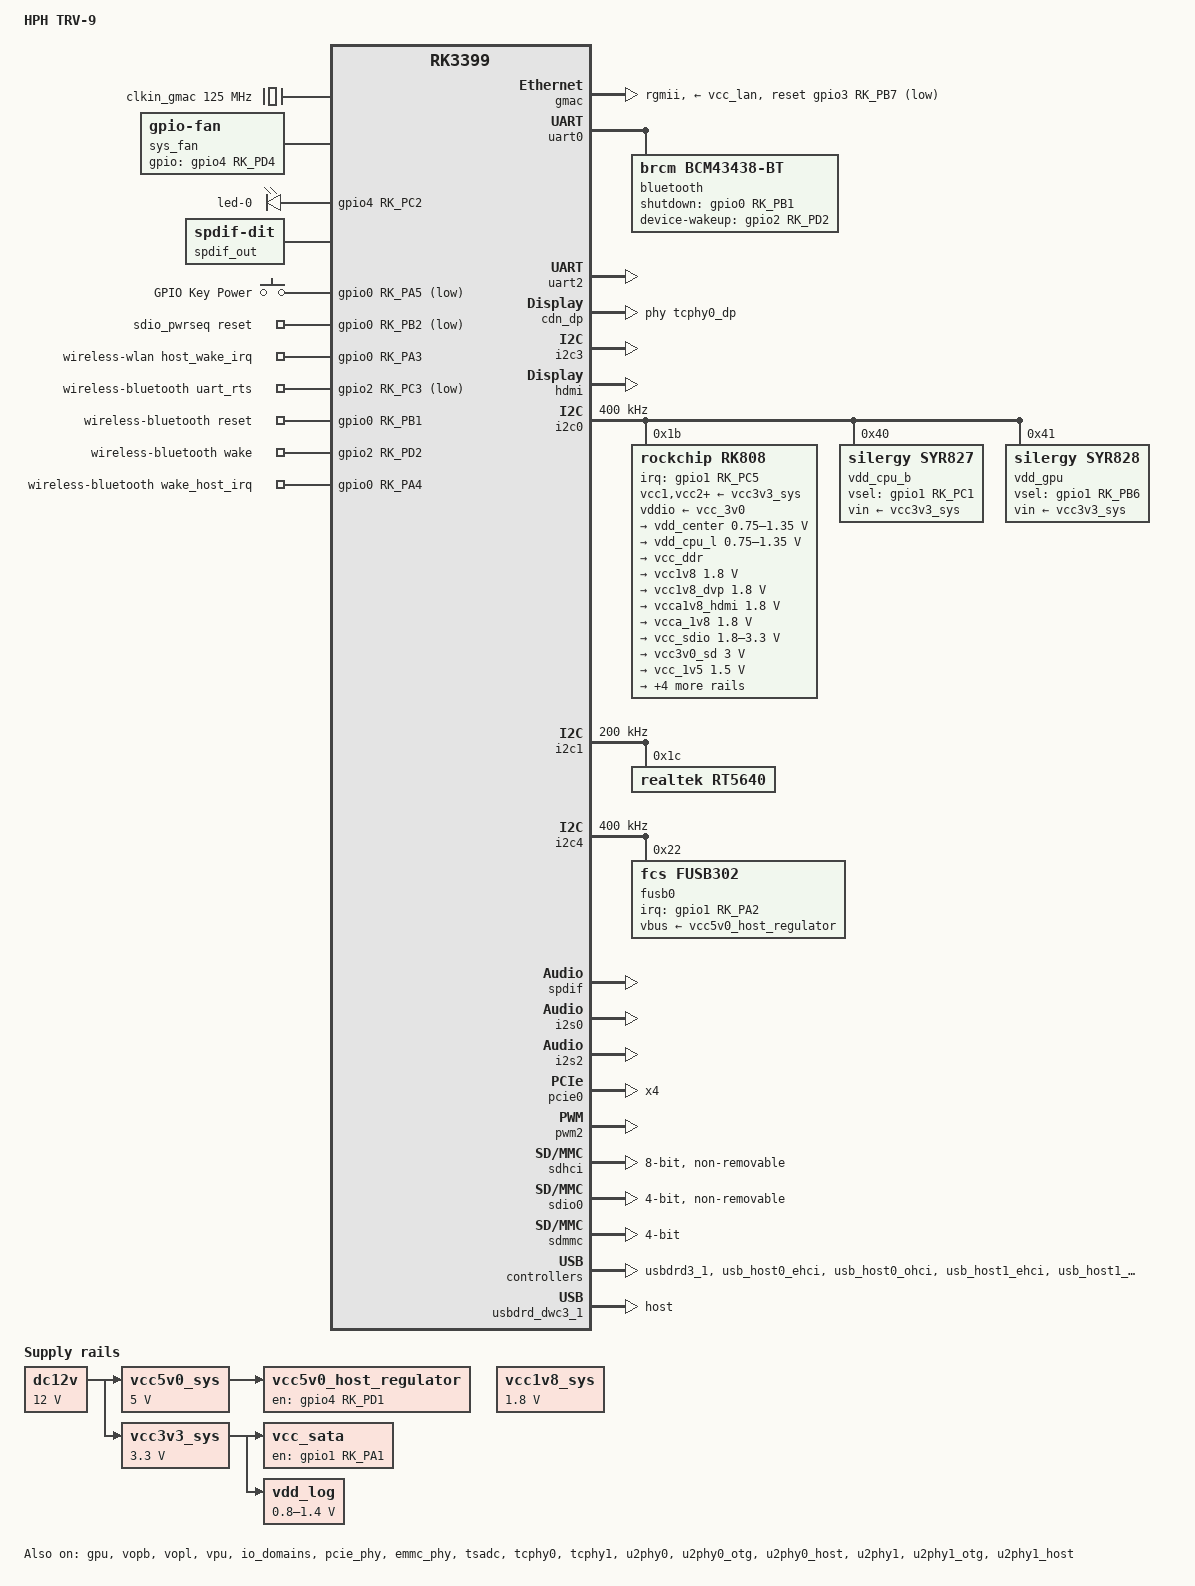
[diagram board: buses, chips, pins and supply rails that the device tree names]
// SPDX-License-Identifier: (GPL-2.0+ OR MIT)
/*
 * Copyright (C) 2025 kaixinos <kaixinos@outlook.com>
 */

/dts-v1/;
#include <dt-bindings/input/linux-event-codes.h>
#include <dt-bindings/leds/common.h>
#include <dt-bindings/pwm/pwm.h>
#include "rk3399.dtsi"
#include "rk3399-opp.dtsi"

/ {
	model = "HPH TRV-9";
	compatible = "hph,TRV-9", "rockchip,rk3399";

	chosen {
		stdout-path = "serial2:1500000n8";
	};

	dc12v: dc12v {
		compatible = "regulator-fixed";
		regulator-name = "dc12v";
		regulator-always-on;
		regulator-boot-on;
		regulator-min-microvolt = <12000000>;
		regulator-max-microvolt = <12000000>;
	};

	vcc5v0_sys: vcc5v0-sys {
		compatible = "regulator-fixed";
		regulator-name = "vcc5v0_sys";
		regulator-always-on;
		regulator-boot-on;
		regulator-min-microvolt = <5000000>;
		regulator-max-microvolt = <5000000>;
		vin-supply = <&dc12v>;
	};

	vcc3v3_sys: vcc3v3-sys {
		compatible = "regulator-fixed";
		regulator-name = "vcc3v3_sys";
		regulator-always-on;
		regulator-boot-on;
		regulator-min-microvolt = <3300000>;
		regulator-max-microvolt = <3300000>;
		vin-supply = <&dc12v>;
	};

	clkin_gmac: external-gmac-clock {
		compatible = "fixed-clock";
		clock-frequency = <125000000>;
		clock-output-names = "clkin_gmac";
		#clock-cells = <0>;
	};

	sys_fan: sys-fan {
		compatible = "gpio-fan";
		gpios = <&gpio4 RK_PD4 GPIO_ACTIVE_HIGH>;
		gpio-fan,speed-map = <0 0>,
			<1000 1>;
		#cooling-cells = <2>;
	};

	leds {
		compatible = "gpio-leds";
		pinctrl-names = "default";
		pinctrl-0 = <&led_drv>;
		led-0 {
			gpios = <&gpio4 RK_PC2 GPIO_ACTIVE_HIGH>;
			default-state = "on";
		};
	};

	vcc_sata: vcc-sata {
		compatible = "regulator-fixed";
		enable-active-high;
		gpio = <&gpio1 RK_PA1 GPIO_ACTIVE_HIGH>;
		pinctrl-names = "default";
		pinctrl-0 = <&vcc_sata_drv>;
		regulator-name = "vcc_sata";
		regulator-always-on;
		vin-supply = <&vcc3v3_sys>;
	};

	vcc5v0_host_regulator: vcc5v0-host-regulator {
		compatible = "regulator-fixed";
		enable-active-high;
		gpio = <&gpio4 RK_PD1 GPIO_ACTIVE_HIGH>;
		pinctrl-names = "default";
		pinctrl-0 = <&host_vbus_drv>;
		regulator-name = "vcc5v0_host";
		regulator-always-on;
		vin-supply = <&vcc5v0_sys>;
	};

	vcc1v8_sys: vcc1v8-sys {
		compatible = "regulator-fixed";
		regulator-name = "vcc1v8_s0";
		regulator-min-microvolt = <1800000>;
		regulator-max-microvolt = <1800000>;
		regulator-always-on;
	};

	vdd_log: vdd-log {
		compatible = "pwm-regulator";
		pwms = <&pwm2 0 25000 1>;
		regulator-name = "vdd_log";
		regulator-min-microvolt = <800000>;
		regulator-max-microvolt = <1400000>;
		regulator-always-on;
		regulator-boot-on;
		vin-supply = <&vcc3v3_sys>;
	};

	rt5640_sound: rt5640-sound {
		status = "okay";
		compatible = "simple-audio-card";
		simple-audio-card,name = "realtek,rt5640-codec";
		simple-audio-card,format = "i2s";
		simple-audio-card,mclk-fs = <256>;

		simple-audio-card,widgets =
			"Microphone", "Mic Jack",
			"Headphone", "Headphone Jack";
		simple-audio-card,routing =
			"Mic Jack", "MICBIAS1",
			"IN1P", "Mic Jack",
			"Headphone Jack", "HPOL",
			"Headphone Jack", "HPOR";

		simple-audio-card,cpu {
			sound-dai = <&i2s0>;
		};
		simple-audio-card,codec {
			sound-dai = <&rt5640>;
		};
	};

	hdmi_sound: hdmi-sound {
		status = "okay";
		compatible = "simple-audio-card";
		simple-audio-card,format = "i2s";
		simple-audio-card,mclk-fs = <256>;
		simple-audio-card,name = "HDMI";
		simple-audio-card,cpu {
			sound-dai = <&i2s2>;
		};
		simple-audio-card,codec {
			sound-dai = <&hdmi>;
		};
	};

	spdif-sound {
		status = "okay";
		compatible = "simple-audio-card";
		simple-audio-card,name = "ROCKCHIP,SPDIF";
		simple-audio-card,cpu {
			sound-dai = <&spdif>;
		};
		simple-audio-card,codec {
			sound-dai = <&spdif_out>;
		};
	};

	spdif_out: spdif-out {
		status = "okay";
		compatible = "linux,spdif-dit";
		#sound-dai-cells = <0>;
	};

	gpio-keys {
		compatible = "gpio-keys";
		autorepeat;
		pinctrl-names = "default";
		pinctrl-0 = <&power_key>;

		button {
			gpios = <&gpio0 RK_PA5 GPIO_ACTIVE_LOW>;
			linux,code = <KEY_POWER>;
			label = "GPIO Key Power";
			linux,input-type = <1>;
			wakeup-source;
			debounce-interval = <100>;
		};
	};

	sdio_pwrseq: sdio-pwrseq {
		compatible = "mmc-pwrseq-simple";
		clocks = <&rk808 1>;
		clock-names = "ext_clock";
		pinctrl-names = "default";
		pinctrl-0 = <&wifi_enable_h>;
		reset-gpios = <&gpio0 RK_PB2 GPIO_ACTIVE_LOW>;
	};

	wireless-wlan {
		compatible = "wlan-platdata";
		rockchip,grf = <&grf>;
		wifi_chip_type = "ap6255";
		sdio_vref = <1800>;
		WIFI,host_wake_irq = <&gpio0 RK_PA3 GPIO_ACTIVE_HIGH>;
	};

	wireless-bluetooth {
		compatible = "bluetooth-platdata";
		clocks = <&rk808 1>;
		clock-names = "ext_clock";
		uart_rts_gpios = <&gpio2 RK_PC3 GPIO_ACTIVE_LOW>;
		pinctrl-names = "default", "rts_gpio";
		pinctrl-0 = <&uart0_rts>;
		pinctrl-1 = <&uart0_gpios>;
		BT,reset_gpio    = <&gpio0 RK_PB1 GPIO_ACTIVE_HIGH>;
		BT,wake_gpio     = <&gpio2 RK_PD2 GPIO_ACTIVE_HIGH>;
		BT,wake_host_irq = <&gpio0 RK_PA4 GPIO_ACTIVE_HIGH>;
	};
};

&cpu_l0 {
	cpu-supply = <&vdd_cpu_l>;
};

&cpu_l1 {
	cpu-supply = <&vdd_cpu_l>;
};

&cpu_l2 {
	cpu-supply = <&vdd_cpu_l>;
};

&cpu_l3 {
	cpu-supply = <&vdd_cpu_l>;
};

&cpu_b0 {
	cpu-supply = <&vdd_cpu_b>;
};

&cpu_b1 {
	cpu-supply = <&vdd_cpu_b>;
};

&gpu {
	status = "okay";
	mali-supply = <&vdd_gpu>;
};

&gmac {
	assigned-clocks = <&cru SCLK_RMII_SRC>;
	assigned-clock-parents = <&clkin_gmac>;
	clock_in_out = "input";
	pinctrl-names = "default", "sleep";
	pinctrl-0 = <&rgmii_pins>;
	pinctrl-1 = <&rgmii_sleep_pins>;
	phy-mode = "rgmii";
	phy-supply = <&vcc_lan>;
	snps,reset-active-low;
	snps,reset-delays-us = <0 10000 50000>;
	snps,reset-gpio = <&gpio3 RK_PB7 GPIO_ACTIVE_LOW>;
	tx_delay = <0x28>;
	rx_delay = <0x11>;
	status = "okay";
};

&uart0 {
	pinctrl-names = "default";
	pinctrl-0 = <&uart0_xfer &uart0_cts &uart0_rts>;
	status = "okay";

	bluetooth {
		compatible = "brcm,bcm43438-bt";
		shutdown-gpios = <&gpio0 RK_PB1 GPIO_ACTIVE_HIGH>;
		device-wakeup-gpios = <&gpio2 RK_PD2 GPIO_ACTIVE_HIGH>;
		pinctrl-names = "default";
		pinctrl-0 = <&bt_reg_on_h &bt_wake_l>;
		clocks = <&rk808 1>;
		clock-names = "lpo";
		max-speed = <1500000>;
	};
};

&uart2 {
	status = "okay";
};

&vopb {
	status = "okay";
};

&vopb_mmu {
	status = "okay";
};

&vopl {
	status = "okay";
};

&vopl_mmu {
	status = "okay";
};

&vpu {
	status = "okay";
};

&rga {
	status = "disabled";
};

&cdn_dp {
	status = "okay";
	phys = <&tcphy0_dp>;
};

&i2c3 {
	status = "okay";
};

&hdmi {
	ddc-i2c-bus = <&i2c3>;
	pinctrl-names = "default";
	pinctrl-0 = <&hdmi_cec>;
	#sound-dai-cells = <0>;
	status = "okay";
};

&i2c0 {
	clock-frequency = <400000>;
	i2c-scl-rising-time-ns = <160>;
	i2c-scl-falling-time-ns = <30>;
	status = "okay";

	rk808: pmic@1b {
		compatible = "rockchip,rk808";
		reg = <0x1b>;
		interrupt-parent = <&gpio1>;
		interrupts = <RK_PC5 IRQ_TYPE_LEVEL_LOW>;
		#clock-cells = <1>;
		clock-output-names = "xin32k", "rk808-clkout2";
		pinctrl-names = "default";
		pinctrl-0 = <&pmic_int_l>;
		rockchip,system-power-controller;
		wakeup-source;

		vcc1-supply = <&vcc3v3_sys>;
		vcc2-supply = <&vcc3v3_sys>;
		vcc3-supply = <&vcc3v3_sys>;
		vcc4-supply = <&vcc3v3_sys>;
		vcc6-supply = <&vcc3v3_sys>;
		vcc7-supply = <&vcc3v3_sys>;
		vcc8-supply = <&vcc3v3_sys>;
		vcc9-supply = <&vcc3v3_sys>;
		vcc10-supply = <&vcc3v3_sys>;
		vcc11-supply = <&vcc3v3_sys>;
		vcc12-supply = <&vcc3v3_sys>;
		vcc13-supply = <&vcc3v3_sys>;
		vcc14-supply = <&vcc3v3_sys>;
		vddio-supply = <&vcc_3v0>;

		regulators {
			vdd_center: DCDC_REG1 {
				regulator-name = "vdd_center";
				regulator-always-on;
				regulator-boot-on;
				regulator-min-microvolt = <750000>;
				regulator-max-microvolt = <1350000>;
				regulator-ramp-delay = <6001>;
				regulator-state-mem {
					regulator-off-in-suspend;
				};
			};

			vdd_cpu_l: DCDC_REG2 {
				regulator-name = "vdd_cpu_l";
				regulator-always-on;
				regulator-boot-on;
				regulator-min-microvolt = <750000>;
				regulator-max-microvolt = <1350000>;
				regulator-ramp-delay = <6001>;
				regulator-state-mem {
					regulator-off-in-suspend;
				};
			};

			vcc_ddr: DCDC_REG3 {
				regulator-name = "vcc_ddr";
				regulator-always-on;
				regulator-boot-on;
				regulator-state-mem {
					regulator-on-in-suspend;
				};
			};

			vcc1v8: vcc1v8_s3: vcca1v8_s3: DCDC_REG4 {
				regulator-name = "vcc1v8";
				regulator-always-on;
				regulator-boot-on;
				regulator-min-microvolt = <1800000>;
				regulator-max-microvolt = <1800000>;
				regulator-state-mem {
					regulator-on-in-suspend;
					regulator-suspend-microvolt = <1800000>;
				};
			};

			vcc1v8_dvp: LDO_REG1 {
				regulator-name = "vcc1v8_dvp";
				regulator-always-on;
				regulator-boot-on;
				regulator-min-microvolt = <1800000>;
				regulator-max-microvolt = <1800000>;
				regulator-state-mem {
					regulator-on-in-suspend;
					regulator-suspend-microvolt = <1800000>;
				};
			};

			vcca1v8_hdmi: LDO_REG2 {
				regulator-name = "vcca1v8_hdmi";
				regulator-always-on;
				regulator-boot-on;
				regulator-min-microvolt = <1800000>;
				regulator-max-microvolt = <1800000>;
				regulator-state-mem {
					regulator-on-in-suspend;
					regulator-suspend-microvolt = <1800000>;
				};
			};

			vcca_1v8: LDO_REG3 {
				regulator-name = "vcca_1v8";
				regulator-always-on;
				regulator-boot-on;
				regulator-min-microvolt = <1800000>;
				regulator-max-microvolt = <1800000>;
				regulator-state-mem {
					regulator-on-in-suspend;
					regulator-suspend-microvolt = <1800000>;
				};
			};

			vcc_sdio: LDO_REG4 {
				regulator-name = "vcc_sdio";
				regulator-always-on;
				regulator-boot-on;
				regulator-min-microvolt = <1800000>;
				regulator-max-microvolt = <3300000>;
				regulator-init-microvolt = <3300000>;
				regulator-state-mem {
					regulator-on-in-suspend;
					regulator-suspend-microvolt = <3300000>;
				};
			};

			vcc3v0_sd: LDO_REG5 {
				regulator-name = "vcc3v0_sd";
				regulator-always-on;
				regulator-boot-on;
				regulator-min-microvolt = <3000000>;
				regulator-max-microvolt = <3000000>;
				regulator-state-mem {
					regulator-on-in-suspend;
					regulator-suspend-microvolt = <3000000>;
				};
			};

			vcc_1v5: LDO_REG6 {
				regulator-name = "vcc_1v5";
				regulator-always-on;
				regulator-boot-on;
				regulator-min-microvolt = <1500000>;
				regulator-max-microvolt = <1500000>;
				regulator-state-mem {
					regulator-on-in-suspend;
					regulator-suspend-microvolt = <1500000>;
				};
			};

			vcca0v9_hdmi: LDO_REG7 {
				regulator-name = "vcca0v9_hdmi";
				regulator-always-on;
				regulator-boot-on;
				regulator-min-microvolt = <900000>;
				regulator-max-microvolt = <900000>;
				regulator-state-mem {
					regulator-on-in-suspend;
					regulator-suspend-microvolt = <900000>;
				};
			};

			vcc_3v0: LDO_REG8 {
				regulator-name = "vcc_3v0";
				regulator-always-on;
				regulator-boot-on;
				regulator-min-microvolt = <3000000>;
				regulator-max-microvolt = <3000000>;
				regulator-state-mem {
					regulator-on-in-suspend;
					regulator-suspend-microvolt = <3000000>;
				};
			};

			vcc3v3_s3: vcc_lan: SWITCH_REG1 {
				regulator-name = "vcc3v3_s3";
				regulator-always-on;
				regulator-boot-on;
				regulator-state-mem {
					regulator-on-in-suspend;
				};
			};

			vcc3v3_s0: SWITCH_REG2 {
				regulator-name = "vcc3v3_s0";
				regulator-always-on;
				regulator-boot-on;
				regulator-state-mem {
					regulator-on-in-suspend;
				};
			};
		};
	};

	vdd_cpu_b: regulator@40 {
		compatible = "silergy,syr827";
		reg = <0x40>;
		fcs,suspend-voltage-selector = <1>;
		pinctrl-names = "default";
		pinctrl-0 = <&vsel1_gpio>;
		vsel-gpios = <&gpio1 RK_PC1 GPIO_ACTIVE_HIGH>;
		regulator-compatible = "fan53555-reg";
		regulator-name = "vdd_cpu_b";
		regulator-min-microvolt = <712500>;
		regulator-max-microvolt = <1500000>;
		regulator-ramp-delay = <1000>;
		regulator-always-on;
		regulator-boot-on;
		vin-supply = <&vcc3v3_sys>;

		regulator-state-mem {
			regulator-off-in-suspend;
		};
	};

	vdd_gpu: regulator@41 {
		compatible = "silergy,syr828";
		reg = <0x41>;
		fcs,suspend-voltage-selector = <1>;
		pinctrl-names = "default";
		pinctrl-0 = <&vsel2_gpio>;
		vsel-gpios = <&gpio1 RK_PB6 GPIO_ACTIVE_HIGH>;
		regulator-compatible = "fan53555-reg";
		regulator-name = "vdd_gpu";
		regulator-min-microvolt = <712500>;
		regulator-max-microvolt = <1500000>;
		regulator-ramp-delay = <1000>;
		regulator-always-on;
		regulator-boot-on;
		vin-supply = <&vcc3v3_sys>;

		regulator-state-mem {
			regulator-off-in-suspend;
		};
	};
};

&cpu_thermal {
	trips {
		fan_trig: fan_trig {
			temperature = <65000>;
			hysteresis = <2000>;
			type = "active";
		};
	};

	cooling-maps {
		fan_map {
			trip = <&fan_trig>;
			cooling-device = <&sys_fan 1 1>;
		};
	};
};

&i2c1 {
	status = "okay";
	i2c-scl-rising-time-ns = <300>;
	i2c-scl-falling-time-ns = <15>;
	clock-frequency = <200000>;

	rt5640: rt5640@1c {
		#sound-dai-cells = <0>;
		compatible = "realtek,rt5640";
		reg = <0x1c>;
		clocks = <&cru SCLK_I2S_8CH_OUT>;
		clock-names = "mclk";
		realtek,in1-differential;
		status = "okay";
	};
};

&i2c4 {
	status = "okay";
	i2c-scl-rising-time-ns = <160>;
	i2c-scl-falling-time-ns = <30>;
	clock-frequency = <400000>;

	fusb0: fusb30x@22 {
		compatible = "fcs,fusb302";
		reg = <0x22>;
		pinctrl-names = "default";
		pinctrl-0 = <&fusb0_int &fusb0_5v>;
		interrupt-parent = <&gpio1>;
		interrupts = <RK_PA2 IRQ_TYPE_LEVEL_HIGH>;
		vbus-supply = <&vcc5v0_host_regulator>;
		status = "okay";
	};
};

&spdif {
	status = "okay";
	pinctrl-names = "default";
	pinctrl-0 = <&spdif_bus_1>;
};

&i2s0 {
	status = "okay";
};

&i2s2 {
	status = "okay";
};

&io_domains {
	status = "okay";
	bt656-supply = <&vcc1v8_sys>;
	audio-supply = <&vcc1v8_sys>;
	sdmmc-supply = <&vcc_sdio>;
	gpio1830-supply = <&vcc_3v0>;
};

&pmu_io_domains {
	status = "okay";
	pmu1830-supply = <&vcc1v8>;
};

&pcie_phy {
	status = "okay";
	assigned-clocks = <&cru SCLK_PCIEPHY_REF>;
	assigned-clock-parents = <&cru SCLK_PCIEPHY_REF100M>;
	assigned-clock-rates = <100000000>;
};

&pcie0 {
	device_type = "pci";
	status = "okay";
	ep-gpios = <&gpio4 RK_PD5 GPIO_ACTIVE_HIGH>;
	num-lanes = <4>;
	max-link-speed = <1>;
};

&pwm2 {
	status = "okay";
	pinctrl-names = "active";
	pinctrl-0 = <&pwm2_pin>;
};

&sdhci {
	bus-width = <8>;
	mmc-hs400-1_8v;
	supports-emmc;
	non-removable;
	keep-power-in-suspend;
	mmc-hs400-enhanced-strobe;
	status = "okay";
};

&emmc_phy {
	status = "okay";
};

&sdio0 {
	clock-frequency = <50000000>;
	clock-freq-min-max = <200000 100000000>;
	supports-sdio;
	bus-width = <4>;
	disable-wp;
	cap-sd-highspeed;
	cap-sdio-irq;
	keep-power-in-suspend;
	mmc-pwrseq = <&sdio_pwrseq>;
	non-removable;
	num-slots = <1>;
	pinctrl-names = "default";
	pinctrl-0 = <&sdio0_bus4 &sdio0_cmd &sdio0_clk>;
	sd-uhs-sdr104;
	status = "okay";
};

&sdmmc {
	bus-width = <4>;
	cap-sd-highspeed;
	cap-mmc-highspeed;
	disable-wp;
	clock-freq-min-max = <100000 100000000>;
	pinctrl-names = "default";
	pinctrl-0 = <&sdmmc_bus4 &sdmmc_clk &sdmmc_cmd &sdmmc_cd>;
	supports-sd;
	num-slots = <1>;
	vqmmc-supply = <&vcc_sdio>;
	status = "okay";
};

&tsadc {
	rockchip,hw-tshut-mode = <1>;
	rockchip,hw-tshut-polarity = <1>;
	rockchip,hw-tshut-temp = <110000>;
	status = "okay";
};

&tcphy0 {
	extcon = <&fusb0>;
	status = "okay";
};

&tcphy1 {
	status = "okay";
};

&u2phy0 {
	status = "okay";
	extcon = <&fusb0>;
};

&u2phy0_otg {
	status = "okay";
};

&u2phy0_host {
	phy-supply = <&vcc5v0_host_regulator>;
	status = "okay";
};

&u2phy1 {
	status = "okay";
};

&u2phy1_otg {
	status = "okay";
};

&u2phy1_host {
	phy-supply = <&vcc5v0_host_regulator>;
	status = "okay";
};

&usbdrd3_1 {
	status = "okay";
};

&usbdrd_dwc3_1 {
	status = "okay";
	dr_mode = "host";
};

&usb_host0_ehci {
	status = "okay";
};

&usb_host0_ohci {
	status = "okay";
};

&usb_host1_ehci {
	status = "okay";
};

&usb_host1_ohci {
	status = "okay";
};

&pinctrl {
	pinctrl-names = "default";
	pinctrl-0 = <&poweroff_fix &sata_mux_drv &tm1629_dio &tm1629_clk &tm1629_stb>;

	pmic {
		pmic_int_l: pmic-int-l {
			rockchip,pins = <1 RK_PC5 RK_FUNC_GPIO &pcfg_pull_up>;
		};

		vsel1_gpio: vsel1-gpio {
			rockchip,pins = <1 RK_PC1 RK_FUNC_GPIO &pcfg_pull_down>;
		};

		vsel2_gpio: vsel2-gpio {
			rockchip,pins = <1 RK_PB6 RK_FUNC_GPIO &pcfg_pull_down>;
		};
	};

	fusb30x {
		fusb0_int: fusb0-int {
			rockchip,pins = <1 RK_PA2 RK_FUNC_GPIO &pcfg_pull_up>;
		};

		fusb0_5v: fusb0-5v {
			rockchip,pins = <1 RK_PA3 RK_FUNC_GPIO &pcfg_pull_none>;
		};
	};

	sdio-pwrseq {
		wifi_enable_h: wifi-enable-h {
			rockchip,pins = <0 RK_PB2 RK_FUNC_GPIO &pcfg_pull_none>;
		};
	};

	rockchip-key {
		power_key: power-key {
			rockchip,pins = <0 RK_PA5 RK_FUNC_GPIO &pcfg_pull_up>;
		};
	};

	usb2 {
		host_vbus_drv: host-vbus-drv {
			rockchip,pins = <4 RK_PD1 RK_FUNC_GPIO &pcfg_pull_none>;
		};
	};

	satapwr {
		vcc_sata_drv: vcc-sata-drv {
			rockchip,pins = <1 RK_PA1 RK_FUNC_GPIO &pcfg_pull_none>;
		};
	};

	led {
		led_drv: led-drv {
			rockchip,pins = <4 RK_PC2 RK_FUNC_GPIO &pcfg_pull_none>;
		};
	};

	sata-mux {
		sata_mux_drv: sata-mux-drv {
			rockchip,pins = <4 RK_PD2 RK_FUNC_GPIO &pcfg_output_low>;
		};
	};

	poweroff {
		poweroff_fix: poweroff-fix {
			rockchip,pins = <4 RK_PD6 RK_FUNC_GPIO &pcfg_output_high>;
		};
	};

	bt {
		bt_reg_on_h: bt-reg-on-h {
			rockchip,pins = <0 RK_PB1 RK_FUNC_GPIO &pcfg_pull_none>;
		};
		bt_wake_l: bt-wake-l {
			rockchip,pins = <2 RK_PD2 RK_FUNC_GPIO &pcfg_pull_none>;
		};
	};

	hph_led {
		tm1629_dio: tm1629-dio {
			rockchip,pins = <4 RK_PC5 RK_FUNC_GPIO &pcfg_pull_none>;
		};
		tm1629_clk: tm1629-clk {
			rockchip,pins = <4 RK_PD0 RK_FUNC_GPIO &pcfg_pull_none>;
		};
		tm1629_stb: tm1629-stb {
			rockchip,pins = <4 RK_PC6 RK_FUNC_GPIO &pcfg_pull_none>;
		};
	};

	gmac {
		rgmii_sleep_pins: rgmii-sleep-pins {
			rockchip,pins = <3 RK_PB7 RK_FUNC_GPIO &pcfg_output_low>;
		};
	};
};

&rockchip_suspend {
	status = "okay";
	rockchip,sleep-mode-config = <0xde>;
	rockchip,wakeup-config = <0x804>;
	rockchip,pwm-regulator-config = <0x04>;
	rockchip,power-ctrl = <&gpio1 RK_PC1 GPIO_ACTIVE_HIGH>, <&gpio1 RK_PB6 GPIO_ACTIVE_HIGH>;
};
